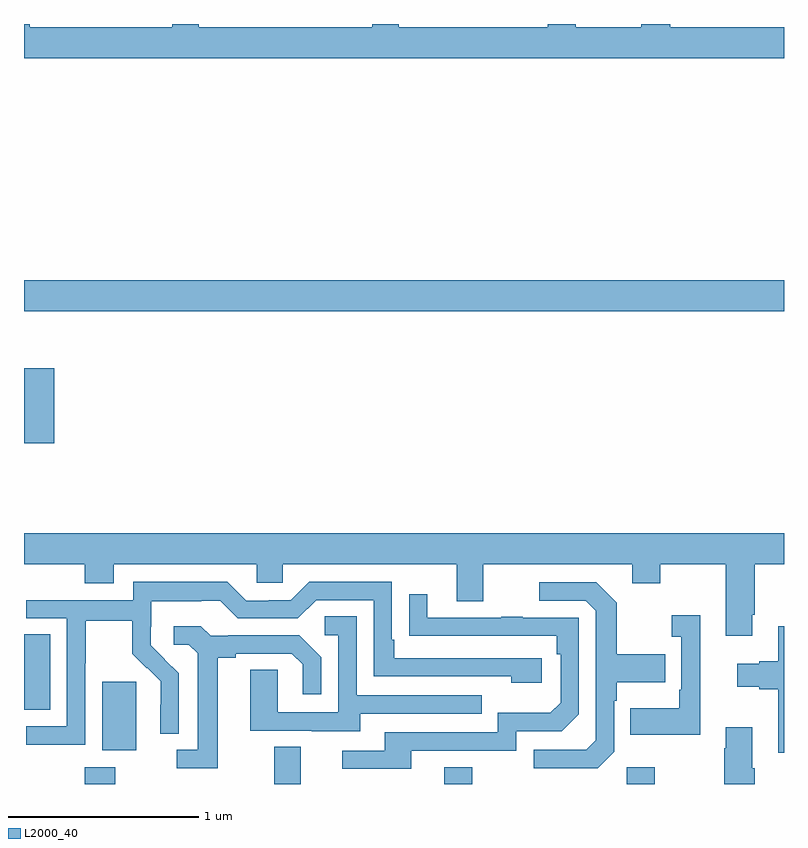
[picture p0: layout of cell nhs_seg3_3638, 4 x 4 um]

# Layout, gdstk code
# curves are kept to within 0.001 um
import gdstk
lib = gdstk.Library(unit=1e-6, precision=1e-09)
def R(c, l, rs):  # rectangles x0, y0, x1, y1
    for r in rs: c.add(gdstk.rectangle(r[:2], r[2:], *l))
def P(c, l, *ps):  # polygons
    for p in ps: c.add(gdstk.Polygon(p, *l))
L2000_40 = (2000, 40)

nhs_seg3_3638 = lib.new_cell('nhs_seg3_3638')
R(nhs_seg3_3638, L2000_40, [(299.321,726.4,299.481,726.487), (300.317,726.4,300.457,726.596), (301.211,726.4,301.359,726.487), (302.172,726.4,302.319,726.487), (299.411,726.578,299.59,726.939), (299,726.79,299.137,727.187), (299,728.193,299.159,728.587), (299,728.888,303,729.052)])
P(nhs_seg3_3638, L2000_40, [(303,730.384),(302.402,730.384),(302.402,730.4),(302.249,730.4),(302.249,730.384),(301.905,730.384),(301.905,730.4),(301.757,730.4),(301.757,730.384),(300.973,730.384),(300.973,730.4),(300.833,730.4),(300.833,730.384),(299.919,730.384),(299.919,730.4),(299.781,730.4),(299.781,730.384),(299.029,730.384),(299.029,730.4),(299,730.4),(299,730.22),(303,730.22)],
  [(302.833,727.291),(302.846,727.291),(302.846,727.556),(303,727.556),(303,727.72),(299,727.72),(299,727.556),(299.321,727.556),(299.321,727.457),(299.473,727.457),(299.473,727.556),(300.225,727.556),(300.225,727.458),(300.363,727.458),(300.363,727.556),(301.277,727.556),(301.277,727.362),(301.417,727.362),(301.417,727.556),(302.201,727.556),(302.201,727.457),(302.349,727.457),(302.349,727.556),(302.693,727.556),(302.693,727.179),(302.833,727.179)],
  [(299.322,727.036),(299.325,727.036),(299.325,727.26),(299.569,727.26),(299.569,727.085),(299.646,727.008),(299.649,727.011),(299.72,726.941),(299.72,726.818),(299.718,726.818),(299.718,726.664),(299.814,726.664),(299.814,726.982),(299.668,727.13),(299.668,727.227),(299.67,727.227),(299.67,727.361),(299.933,727.361),(299.933,727.365),(300.033,727.365),(300.126,727.272),(300.441,727.272),(300.537,727.368),(300.84,727.368),(300.84,726.966),(301.565,726.966),(301.565,726.932),(301.726,726.932),(301.726,727.062),(300.949,727.062),(300.949,727.159),(300.936,727.159),(300.936,727.464),(300.501,727.464),(300.405,727.368),(300.287,727.368),(300.287,727.365),(300.171,727.365),(300.071,727.465),(299.574,727.465),(299.574,727.368),(299.013,727.368),(299.013,727.272),(299.226,727.272),(299.226,726.705),(299.013,726.705),(299.013,726.607),(299.322,726.607)],
  [(302.106,726.57),(302.106,726.839),(302.119,726.839),(302.119,726.935),(302.375,726.935),(302.375,727.083),(302.119,727.083),(302.119,727.355),(302.013,727.461),(301.713,727.461),(301.713,727.365),(301.956,727.365),(302.01,727.311),(302.01,726.63),(301.959,726.579),(301.683,726.579),(301.683,726.483),(302.019,726.483)],
  [(301.039,726.576),(301.59,726.576),(301.59,726.678),(301.83,726.678),(301.92,726.768),(301.92,727.275),(301.625,727.275),(301.625,727.28),(301.513,727.28),(301.513,727.275),(301.123,727.275),(301.123,727.399),(301.027,727.399),(301.027,727.18),(301.804,727.179),(301.804,727.082),(301.824,727.082),(301.824,726.828),(301.771,726.775),(301.494,726.775),(301.494,726.672),(300.899,726.672),(300.899,726.576),(300.675,726.576),(300.675,726.48),(301.039,726.48)],
  [(302.558,727.288),(302.409,727.288),(302.409,727.175),(302.46,727.175),(302.46,726.895),(302.448,726.895),(302.448,726.799),(302.191,726.799),(302.191,726.659),(302.558,726.659)],
  [(300.769,726.771),(301.409,726.771),(301.409,726.867),(300.75,726.867),(300.75,727.283),(300.582,727.283),(300.582,727.182),(300.654,727.182),(300.654,726.777),(300.336,726.777),(300.336,727.001),(300.191,727.001),(300.191,726.681),(300.515,726.681),(300.515,726.677),(300.769,726.677)],
  [(300.019,727.064),(300.115,727.064),(300.115,727.086),(300.41,727.086),(300.467,727.029),(300.467,726.873),(300.564,726.873),(300.564,727.066),(300.448,727.182),(300.076,727.182),(300.076,727.179),(299.982,727.179),(299.93,727.231),(299.787,727.231),(299.787,727.134),(299.868,727.134),(299.915,727.087),(299.915,726.579),(299.805,726.579),(299.805,726.483),(300.019,726.483)],
  [(303,727.231),(302.969,727.231),(302.969,727.046),(302.87,727.046),(302.87,727.033),(302.754,727.033),(302.754,726.911),(302.87,726.911),(302.87,726.899),(302.969,726.899),(302.969,726.564),(303,726.564)],
  [(302.846,726.484),(302.833,726.484),(302.833,726.7),(302.693,726.7),(302.693,726.587),(302.686,726.587),(302.686,726.4),(302.846,726.4)])

lib.write_gds('nhs_seg3_3638.gds')
